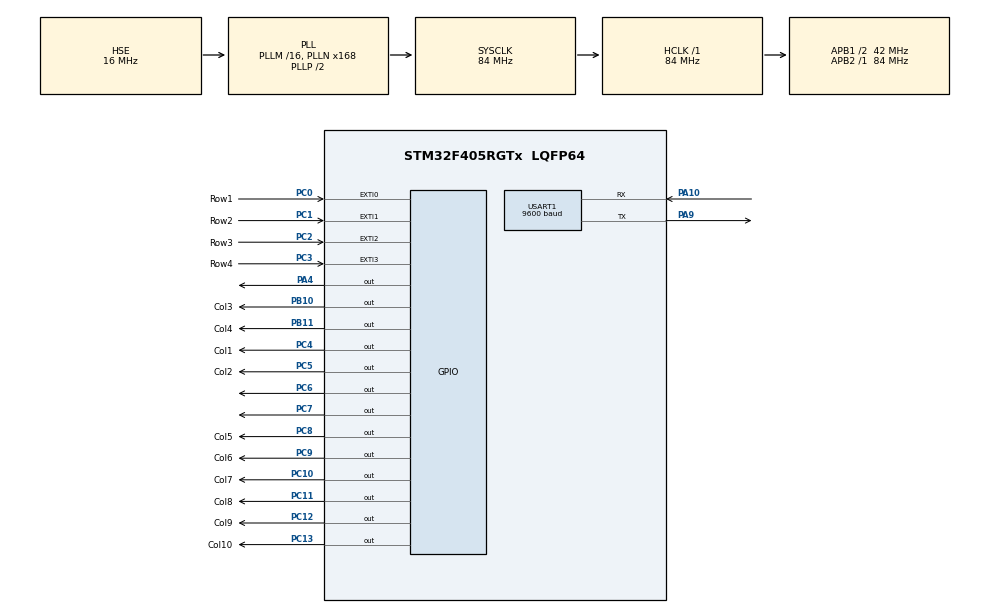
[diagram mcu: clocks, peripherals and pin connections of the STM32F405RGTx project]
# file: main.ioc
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Mcu.Family=STM32F4
Mcu.Name=STM32F405RGTx
Mcu.Package=LQFP64
NVIC.EXTI0_IRQn=true\:0\:0\:false\:false\:true\:true
NVIC.EXTI1_IRQn=true\:0\:0\:false\:false\:true\:true
NVIC.EXTI2_IRQn=true\:0\:0\:false\:false\:true\:true
NVIC.EXTI3_IRQn=true\:0\:0\:false\:false\:true\:true
NVIC.PriorityGroup=NVIC_PRIORITYGROUP_4
NVIC.TIM3_IRQn=true\:0\:0\:false\:false\:true\:true
PA10.Mode=Asynchronous
PA10.Signal=USART1_RX
PA13.Mode=Serial_Wire
PA13.Signal=SYS_JTMS-SWDIO
PA14.Mode=Serial_Wire
PA14.Signal=SYS_JTCK-SWCLK
PA4.Signal=GPIO_Output
PA5.Signal=SPI1_SCK
PA9.Mode=Asynchronous
PA9.Signal=USART1_TX
PB10.GPIO_Label=Col3
PB10.Signal=GPIO_Output
PB11.GPIO_Label=Col4
PB11.Signal=GPIO_Output
PC0.GPIO_Label=Row1
PC0.GPIO_PuPd=GPIO_NOPULL
PC0.Signal=GPXTI0
PC1.GPIO_Label=Row2
PC1.GPIO_PuPd=GPIO_NOPULL
PC1.Signal=GPXTI1
PC10.GPIO_Label=Col7
PC10.Signal=GPIO_Output
PC11.GPIO_Label=Col8
PC11.Signal=GPIO_Output
PC12.GPIO_Label=Col9
PC12.Signal=GPIO_Output
PC13-ANTI_TAMP.GPIO_Label=Col10
PC13-ANTI_TAMP.Signal=GPIO_Output
PC14-OSC32_IN.Mode=LSE-External-Oscillator
PC14-OSC32_IN.Signal=RCC_OSC32_IN
PC15-OSC32_OUT.Mode=LSE-External-Oscillator
PC15-OSC32_OUT.Signal=RCC_OSC32_OUT
PC2.GPIO_Label=Row3
PC2.GPIO_PuPd=GPIO_NOPULL
PC2.Signal=GPXTI2
PC3.GPIO_Label=Row4
PC3.GPIO_PuPd=GPIO_NOPULL
PC3.Signal=GPXTI3
PC4.GPIO_Label=Col1
PC4.Signal=GPIO_Output
PC5.GPIO_Label=Col2
PC5.Signal=GPIO_Output
PC6.Signal=GPIO_Output
PC7.Signal=GPIO_Output
PC8.GPIO_Label=Col5
PC8.Signal=GPIO_Output
PC9.GPIO_Label=Col6
PC9.Signal=GPIO_Output
PH0-OSC_IN.Mode=HSE-External-Oscillator
PH0-OSC_IN.Signal=RCC_OSC_IN
PH1-OSC_OUT.Mode=HSE-External-Oscillator
PH1-OSC_OUT.Signal=RCC_OSC_OUT
ProjectManager.HeapSize=0x200
ProjectManager.StackSize=0x400
ProjectManager.TargetToolchain=Makefile
RCC.48MHZClocksFreq_Value=42000000
RCC.AHBFreq_Value=84000000
RCC.APB1CLKDivider=RCC_HCLK_DIV2
RCC.APB1Freq_Value=42000000
RCC.APB1TimFreq_Value=84000000
RCC.APB2Freq_Value=84000000
RCC.APB2TimFreq_Value=84000000
RCC.CortexFreq_Value=84000000
RCC.HCLKFreq_Value=84000000
RCC.HSE_VALUE=16000000
RCC.HSI_VALUE=16000000
RCC.PLLN=168
RCC.PLLSourceVirtual=RCC_PLLSOURCE_HSE
RCC.RCC_RTC_Clock_SourceVirtual=RCC_RTCCLKSOURCE_LSE
RCC.SYSCLKFreq_VALUE=84000000
RCC.SYSCLKSource=RCC_SYSCLKSOURCE_PLLCLK
RCC.VCOOutputFreq_Value=168000000
TIM3.Period=20
TIM3.Prescaler=41999
USART1.BaudRate=9600
USART1.VirtualMode=VM_ASYNC
VP_TIM3_VS_ClockSourceINT.Mode=Internal
board=main

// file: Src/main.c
#include "main.h"
#include "stm32f4xx_hal.h"

/* USER CODE BEGIN Includes */
/* vim: set ai et ts=4 sw=4: */
#include <string.h>
#include <stdarg.h>
#include <stdbool.h>

/* USER CODE END Includes */

TIM_HandleTypeDef htim3;

UART_HandleTypeDef huart1;

/* USER CODE BEGIN PV */
/* Private variables ---------------------------------------------------------*/

/* USER CODE END PV */

void SystemClock_Config(void);
static void MX_GPIO_Init(void);
static void MX_USART1_UART_Init(void);
static void MX_TIM3_Init(void);

/* USER CODE BEGIN PFP */
/* Private function prototypes -----------------------------------------------*/

/* USER CODE END PFP */

/* USER CODE BEGIN 0 */

void UART_Printf(const char* fmt, ...) {
    char buff[256];
    va_list args;
    va_start(args, fmt);
    vsnprintf(buff, sizeof(buff), fmt, args);
    HAL_UART_Transmit(&huart1, (uint8_t*)buff, strlen(buff),
                      HAL_MAX_DELAY);
    va_end(args);
}

static uint8_t current_column = 0;

// Called from TIM3_IRQHandler once every 1 ms
void change_column() {
    current_column += 1;
    if(current_column >= 10)
        current_column = 0;

    switch(current_column) {
    case 0:
        HAL_GPIO_WritePin(Col10_GPIO_Port, Col10_Pin, GPIO_PIN_RESET);
        HAL_GPIO_WritePin(Col1_GPIO_Port, Col1_Pin, GPIO_PIN_SET);
        break;
    case 1:
        HAL_GPIO_WritePin(Col1_GPIO_Port, Col1_Pin, GPIO_PIN_RESET);
        HAL_GPIO_WritePin(Col2_GPIO_Port, Col2_Pin, GPIO_PIN_SET);
        break;
    case 2:
        HAL_GPIO_WritePin(Col2_GPIO_Port, Col2_Pin, GPIO_PIN_RESET);
        HAL_GPIO_WritePin(Col3_GPIO_Port, Col3_Pin, GPIO_PIN_SET);
        break;
    case 3:
        HAL_GPIO_WritePin(Col3_GPIO_Port, Col3_Pin, GPIO_PIN_RESET);
        HAL_GPIO_WritePin(Col4_GPIO_Port, Col4_Pin, GPIO_PIN_SET);
        break;
    case 4:
        HAL_GPIO_WritePin(Col4_GPIO_Port, Col4_Pin, GPIO_PIN_RESET);
        HAL_GPIO_WritePin(Col5_GPIO_Port, Col5_Pin, GPIO_PIN_SET);
        break;
    case 5:
        HAL_GPIO_WritePin(Col5_GPIO_Port, Col5_Pin, GPIO_PIN_RESET);
        HAL_GPIO_WritePin(Col6_GPIO_Port, Col6_Pin, GPIO_PIN_SET);
        break;
    case 6:
        HAL_GPIO_WritePin(Col6_GPIO_Port, Col6_Pin, GPIO_PIN_RESET);
        HAL_GPIO_WritePin(Col7_GPIO_Port, Col7_Pin, GPIO_PIN_SET);
        break;
    case 7:
        HAL_GPIO_WritePin(Col7_GPIO_Port, Col7_Pin, GPIO_PIN_RESET);
        HAL_GPIO_WritePin(Col8_GPIO_Port, Col8_Pin, GPIO_PIN_SET);
        break;
    case 8:
        HAL_GPIO_WritePin(Col8_GPIO_Port, Col8_Pin, GPIO_PIN_RESET);
        HAL_GPIO_WritePin(Col9_GPIO_Port, Col9_Pin, GPIO_PIN_SET);
        break;
    default: // 9
        HAL_GPIO_WritePin(Col9_GPIO_Port, Col9_Pin, GPIO_PIN_RESET);
        HAL_GPIO_WritePin(Col10_GPIO_Port, Col10_Pin, GPIO_PIN_SET);
    }
}

static uint8_t last_row = 0;
static uint8_t last_column = 0;
static uint32_t total_clicks = 0;

// Called from HAL_GPIO_EXTI_Callback when button is pressed
void row_callback(uint8_t row_number) {
    last_column = current_column;
    last_row = row_number;
    total_clicks++;
}

void init() {
    HAL_GPIO_WritePin(Col1_GPIO_Port, Col1_Pin, GPIO_PIN_RESET);
    HAL_GPIO_WritePin(Col2_GPIO_Port, Col2_Pin, GPIO_PIN_RESET);
    HAL_GPIO_WritePin(Col3_GPIO_Port, Col3_Pin, GPIO_PIN_RESET);
    HAL_GPIO_WritePin(Col4_GPIO_Port, Col4_Pin, GPIO_PIN_RESET);
    HAL_GPIO_WritePin(Col5_GPIO_Port, Col5_Pin, GPIO_PIN_RESET);
    HAL_GPIO_WritePin(Col6_GPIO_Port, Col6_Pin, GPIO_PIN_RESET);
    HAL_GPIO_WritePin(Col7_GPIO_Port, Col7_Pin, GPIO_PIN_RESET);
    HAL_GPIO_WritePin(Col8_GPIO_Port, Col8_Pin, GPIO_PIN_RESET);
    HAL_GPIO_WritePin(Col9_GPIO_Port, Col9_Pin, GPIO_PIN_RESET);
    HAL_GPIO_WritePin(Col10_GPIO_Port, Col10_Pin, GPIO_PIN_RESET);

    HAL_TIM_Base_Start_IT(&htim3);
    UART_Printf("Ready!\r\n");
    HAL_Delay(1);
}

void loop() {
    UART_Printf("row = %d, col = %d\r\n", last_row, last_column);
    UART_Printf("clks = %ld\r\n", total_clicks);
    HAL_Delay(1000);
}

/* USER CODE END 0 */

int main(void)
{

  /* MCU Configuration----------------------------------------------------------*/

  /* Reset of all peripherals, Initializes the Flash interface and the Systick. */
  HAL_Init();

  /* Configure the system clock */
  SystemClock_Config();

  /* Initialize all configured peripherals */
  MX_GPIO_Init();
  MX_USART1_UART_Init();
  MX_TIM3_Init();

  /* Infinite loop */
  /* USER CODE BEGIN WHILE */
  init();
  while (1)
  {
    loop();
  /* USER CODE END WHILE */

  }

}

/** System Clock Configuration
*/
void SystemClock_Config(void)
{

  RCC_OscInitTypeDef RCC_OscInitStruct;
  RCC_ClkInitTypeDef RCC_ClkInitStruct;

    /**Configure the main internal regulator output voltage
    */
  __HAL_RCC_PWR_CLK_ENABLE();

  __HAL_PWR_VOLTAGESCALING_CONFIG(PWR_REGULATOR_VOLTAGE_SCALE1);

    /**Initializes the CPU, AHB and APB busses clocks
    */
  RCC_OscInitStruct.OscillatorType = RCC_OSCILLATORTYPE_HSE;
  RCC_OscInitStruct.HSEState = RCC_HSE_ON;
  RCC_OscInitStruct.PLL.PLLState = RCC_PLL_ON;
  RCC_OscInitStruct.PLL.PLLSource = RCC_PLLSOURCE_HSE;
  RCC_OscInitStruct.PLL.PLLM = 16;
  RCC_OscInitStruct.PLL.PLLN = 168;
  RCC_OscInitStruct.PLL.PLLP = RCC_PLLP_DIV2;
  RCC_OscInitStruct.PLL.PLLQ = 4;
  if (HAL_RCC_OscConfig(&RCC_OscInitStruct) != HAL_OK)
  {
    _Error_Handler(__FILE__, __LINE__);
  }

    /**Initializes the CPU, AHB and APB busses clocks
    */
  RCC_ClkInitStruct.ClockType = RCC_CLOCKTYPE_HCLK|RCC_CLOCKTYPE_SYSCLK
                              |RCC_CLOCKTYPE_PCLK1|RCC_CLOCKTYPE_PCLK2;
  RCC_ClkInitStruct.SYSCLKSource = RCC_SYSCLKSOURCE_PLLCLK;
  RCC_ClkInitStruct.AHBCLKDivider = RCC_SYSCLK_DIV1;
  RCC_ClkInitStruct.APB1CLKDivider = RCC_HCLK_DIV2;
  RCC_ClkInitStruct.APB2CLKDivider = RCC_HCLK_DIV1;

  if (HAL_RCC_ClockConfig(&RCC_ClkInitStruct, FLASH_LATENCY_2) != HAL_OK)
  {
    _Error_Handler(__FILE__, __LINE__);
  }

    /**Configure the Systick interrupt time
    */
  HAL_SYSTICK_Config(HAL_RCC_GetHCLKFreq()/1000);

    /**Configure the Systick
    */
  HAL_SYSTICK_CLKSourceConfig(SYSTICK_CLKSOURCE_HCLK);

  /* SysTick_IRQn interrupt configuration */
  HAL_NVIC_SetPriority(SysTick_IRQn, 0, 0);
}

/* TIM3 init function */
static void MX_TIM3_Init(void)
{

  TIM_ClockConfigTypeDef sClockSourceConfig;
  TIM_MasterConfigTypeDef sMasterConfig;

  htim3.Instance = TIM3;
  htim3.Init.Prescaler = 41999;
  htim3.Init.CounterMode = TIM_COUNTERMODE_UP;
  htim3.Init.Period = 20;
  htim3.Init.ClockDivision = TIM_CLOCKDIVISION_DIV1;
  if (HAL_TIM_Base_Init(&htim3) != HAL_OK)
  {
    _Error_Handler(__FILE__, __LINE__);
  }

  sClockSourceConfig.ClockSource = TIM_CLOCKSOURCE_INTERNAL;
  if (HAL_TIM_ConfigClockSource(&htim3, &sClockSourceConfig) != HAL_OK)
  {
    _Error_Handler(__FILE__, __LINE__);
  }

  sMasterConfig.MasterOutputTrigger = TIM_TRGO_RESET;
  sMasterConfig.MasterSlaveMode = TIM_MASTERSLAVEMODE_DISABLE;
  if (HAL_TIMEx_MasterConfigSynchronization(&htim3, &sMasterConfig) != HAL_OK)
  {
    _Error_Handler(__FILE__, __LINE__);
  }

}

/* USART1 init function */
static void MX_USART1_UART_Init(void)
{

  huart1.Instance = USART1;
  huart1.Init.BaudRate = 9600;
  huart1.Init.WordLength = UART_WORDLENGTH_8B;
  huart1.Init.StopBits = UART_STOPBITS_1;
  huart1.Init.Parity = UART_PARITY_NONE;
  huart1.Init.Mode = UART_MODE_TX_RX;
  huart1.Init.HwFlowCtl = UART_HWCONTROL_NONE;
  huart1.Init.OverSampling = UART_OVERSAMPLING_16;
  if (HAL_UART_Init(&huart1) != HAL_OK)
  {
    _Error_Handler(__FILE__, __LINE__);
  }

}

/** Configure pins as
        * Analog
        * Input
        * Output
        * EVENT_OUT
        * EXTI
     PA5   ------> SPI1_SCK
*/
static void MX_GPIO_Init(void)
{

  GPIO_InitTypeDef GPIO_InitStruct;

  /* GPIO Ports Clock Enable */
  __HAL_RCC_GPIOC_CLK_ENABLE();
  __HAL_RCC_GPIOH_CLK_ENABLE();
  __HAL_RCC_GPIOA_CLK_ENABLE();
  __HAL_RCC_GPIOB_CLK_ENABLE();

  /*Configure GPIO pin Output Level */
  HAL_GPIO_WritePin(GPIOC, Col10_Pin|Col1_Pin|Col2_Pin|GPIO_PIN_6
                          |GPIO_PIN_7|Col5_Pin|Col6_Pin|Col7_Pin
                          |Col8_Pin|Col9_Pin, GPIO_PIN_RESET);

  /*Configure GPIO pin Output Level */
  HAL_GPIO_WritePin(GPIOA, GPIO_PIN_4, GPIO_PIN_RESET);

  /*Configure GPIO pin Output Level */
  HAL_GPIO_WritePin(GPIOB, Col3_Pin|Col4_Pin, GPIO_PIN_RESET);

  /*Configure GPIO pins : Col10_Pin Col1_Pin Col2_Pin PC6
                           PC7 Col5_Pin Col6_Pin Col7_Pin
                           Col8_Pin Col9_Pin */
  GPIO_InitStruct.Pin = Col10_Pin|Col1_Pin|Col2_Pin|GPIO_PIN_6
                          |GPIO_PIN_7|Col5_Pin|Col6_Pin|Col7_Pin
                          |Col8_Pin|Col9_Pin;
  GPIO_InitStruct.Mode = GPIO_MODE_OUTPUT_PP;
  GPIO_InitStruct.Pull = GPIO_NOPULL;
  GPIO_InitStruct.Speed = GPIO_SPEED_FREQ_LOW;
  HAL_GPIO_Init(GPIOC, &GPIO_InitStruct);

  /*Configure GPIO pins : Row1_Pin Row2_Pin Row3_Pin Row4_Pin */
  GPIO_InitStruct.Pin = Row1_Pin|Row2_Pin|Row3_Pin|Row4_Pin;
  GPIO_InitStruct.Mode = GPIO_MODE_IT_RISING;
  GPIO_InitStruct.Pull = GPIO_NOPULL;
  HAL_GPIO_Init(GPIOC, &GPIO_InitStruct);

  /*Configure GPIO pin : PA4 */
  GPIO_InitStruct.Pin = GPIO_PIN_4;
  GPIO_InitStruct.Mode = GPIO_MODE_OUTPUT_PP;
  GPIO_InitStruct.Pull = GPIO_NOPULL;
  GPIO_InitStruct.Speed = GPIO_SPEED_FREQ_LOW;
  HAL_GPIO_Init(GPIOA, &GPIO_InitStruct);

  /*Configure GPIO pin : PA5 */
  GPIO_InitStruct.Pin = GPIO_PIN_5;
  GPIO_InitStruct.Mode = GPIO_MODE_AF_PP;
  GPIO_InitStruct.Pull = GPIO_NOPULL;
  GPIO_InitStruct.Speed = GPIO_SPEED_FREQ_VERY_HIGH;
  GPIO_InitStruct.Alternate = GPIO_AF5_SPI1;
  HAL_GPIO_Init(GPIOA, &GPIO_InitStruct);

  /*Configure GPIO pins : Col3_Pin Col4_Pin */
  GPIO_InitStruct.Pin = Col3_Pin|Col4_Pin;
  GPIO_InitStruct.Mode = GPIO_MODE_OUTPUT_PP;
  GPIO_InitStruct.Pull = GPIO_NOPULL;
  GPIO_InitStruct.Speed = GPIO_SPEED_FREQ_LOW;
  HAL_GPIO_Init(GPIOB, &GPIO_InitStruct);

  /* EXTI interrupt init*/
  HAL_NVIC_SetPriority(EXTI0_IRQn, 0, 0);
  HAL_NVIC_EnableIRQ(EXTI0_IRQn);

  HAL_NVIC_SetPriority(EXTI1_IRQn, 0, 0);
  HAL_NVIC_EnableIRQ(EXTI1_IRQn);

  HAL_NVIC_SetPriority(EXTI2_IRQn, 0, 0);
  HAL_NVIC_EnableIRQ(EXTI2_IRQn);

  HAL_NVIC_SetPriority(EXTI3_IRQn, 0, 0);
  HAL_NVIC_EnableIRQ(EXTI3_IRQn);

}

void _Error_Handler(char * file, int line)
{
  while(1)
  {
  }
}

/************************ (C) COPYRIGHT STMicroelectronics *****END OF FILE****/
